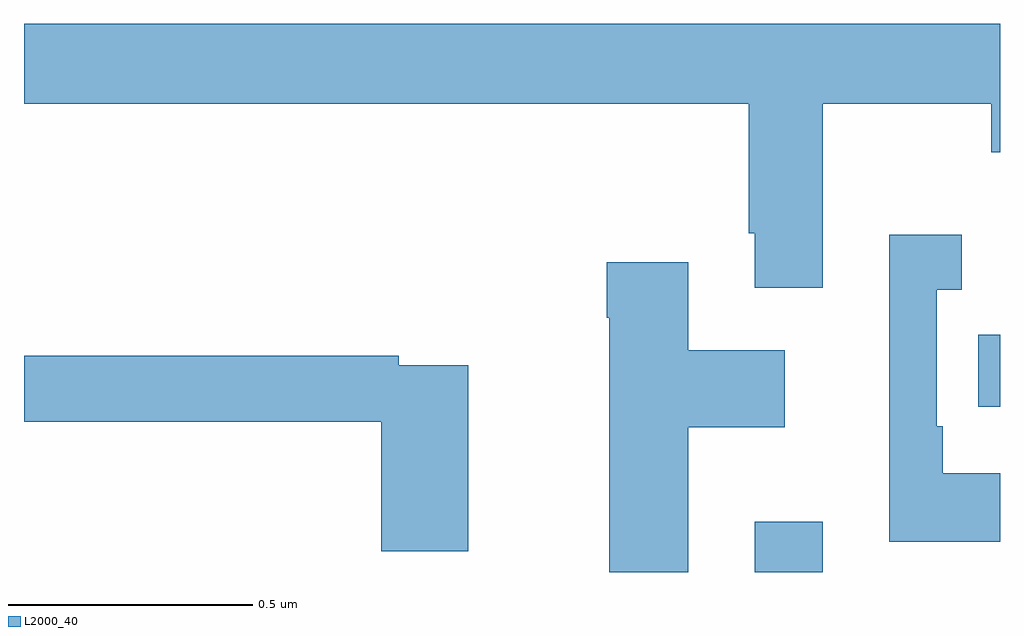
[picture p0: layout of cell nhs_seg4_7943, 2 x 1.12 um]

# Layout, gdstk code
import gdstk
lib = gdstk.Library(unit=1e-6, precision=1e-09)
def R(c, l, rs):  # rectangles x0, y0, x1, y1
    for r in rs: c.add(gdstk.rectangle(r[:2], r[2:], *l))
def P(c, l, *ps):  # polygons
    for p in ps: c.add(gdstk.Polygon(p, *l))
L2000_40 = (2000, 40)

nhs_seg4_7943 = lib.new_cell('nhs_seg4_7943')
R(nhs_seg4_7943, L2000_40, [(210.497,755.9,210.637,756.004), (210.955,756.239,211,756.387)])
P(nhs_seg4_7943, L2000_40, [(210.637,756.86),(210.982,756.86),(210.982,756.761),(211,756.761),(211,757.024),(209,757.024),(209,756.86),(210.485,756.86),(210.485,756.595),(210.497,756.595),(210.497,756.483),(210.637,756.483)],
  [(211,756.103),(210.883,756.103),(210.883,756.199),(210.87,756.199),(210.87,756.479),(210.922,756.479),(210.922,756.592),(210.773,756.592),(210.773,755.963),(211,755.963)],
  [(210.361,756.197),(210.559,756.197),(210.559,756.355),(210.361,756.355),(210.361,756.535),(210.194,756.535),(210.194,756.422),(210.199,756.422),(210.199,755.9),(210.361,755.9)],
  [(209.91,756.324),(209.768,756.324),(209.768,756.344),(209,756.344),(209,756.208),(209.732,756.208),(209.732,755.943),(209.91,755.943)])

lib.write_gds('nhs_seg4_7943.gds')
